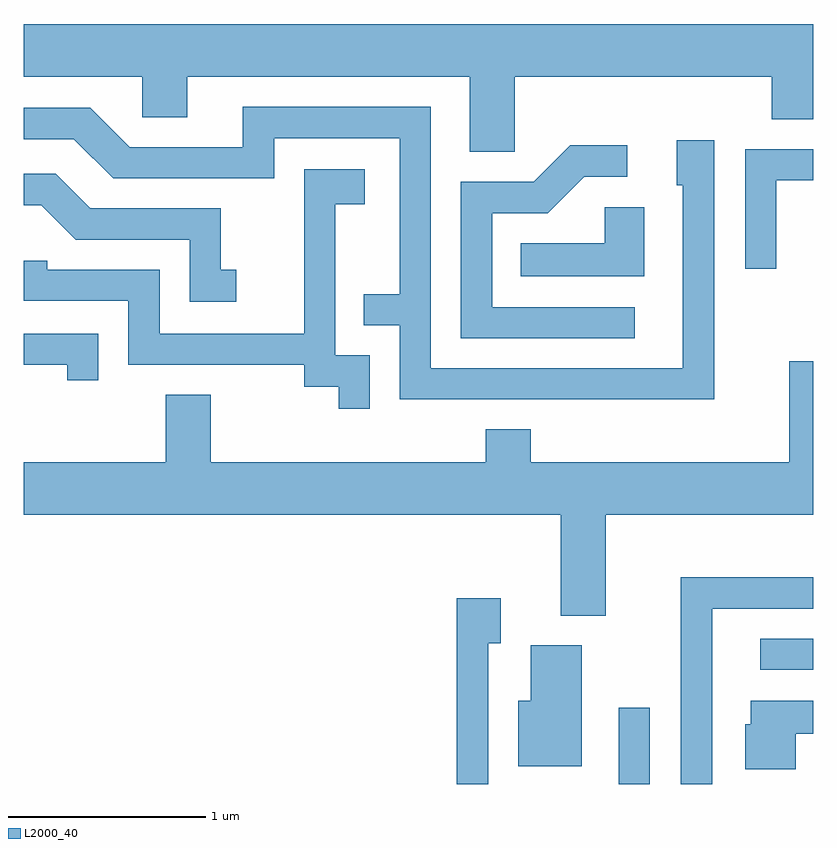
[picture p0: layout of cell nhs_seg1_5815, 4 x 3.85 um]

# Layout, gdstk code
import gdstk
lib = gdstk.Library(unit=1e-6, precision=1e-09)
def R(c, l, rs):  # rectangles x0, y0, x1, y1
    for r in rs: c.add(gdstk.rectangle(r[:2], r[2:], *l))
def P(c, l, *ps):  # polygons
    for p in ps: c.add(gdstk.Polygon(p, *l))
L2000_40 = (2000, 40)

nhs_seg1_5815 = lib.new_cell('nhs_seg1_5815')
R(nhs_seg1_5815, L2000_40, [(362.626,953.712,362.784,954.098), (363.343,954.291,363.611,954.449)])
P(nhs_seg1_5815, L2000_40, [(362.099,957.296),(363.401,957.296),(363.401,957.081),(363.611,957.081),(363.611,957.564),(359.611,957.564),(359.611,957.296),(360.211,957.296),(360.211,957.091),(360.439,957.091),(360.439,957.296),(361.871,957.296),(361.871,956.916),(362.099,956.916)],
  [(363.109,956.974),(362.921,956.974),(362.921,956.746),(362.951,956.746),(362.951,955.819),(361.674,955.819),(361.674,957.144),(360.721,957.144),(360.721,956.939),(360.147,956.939),(359.947,957.139),(359.611,957.139),(359.611,956.981),(359.864,956.981),(360.064,956.781),(360.879,956.781),(360.879,956.986),(361.516,956.986),(361.516,956.194),(361.333,956.194),(361.333,956.036),(361.516,956.036),(361.516,955.661),(363.109,955.661)],
  [(362.708,956.129),(361.984,956.129),(361.984,956.606),(362.267,956.606),(362.452,956.791),(362.668,956.791),(362.668,956.949),(362.379,956.949),(362.194,956.764),(361.826,956.764),(361.826,955.971),(362.708,955.971)],
  [(363.424,956.771),(363.611,956.771),(363.611,956.929),(363.266,956.929),(363.266,956.323),(363.424,956.323)],
  [(361.364,955.884),(361.189,955.884),(361.189,956.651),(361.339,956.651),(361.339,956.829),(361.031,956.829),(361.031,955.994),(360.299,955.994),(360.299,956.319),(359.729,956.319),(359.729,956.364),(359.611,956.364),(359.611,956.161),(360.141,956.161),(360.141,955.836),(361.031,955.836),(361.031,955.726),(361.206,955.726),(361.206,955.613),(361.364,955.613)],
  [(360.688,956.319),(360.609,956.319),(360.609,956.629),(359.947,956.629),(359.772,956.804),(359.611,956.804),(359.611,956.646),(359.699,956.646),(359.874,956.471),(360.451,956.471),(360.451,956.156),(360.688,956.156)],
  [(362.754,956.634),(362.556,956.634),(362.556,956.454),(362.128,956.454),(362.128,956.286),(362.754,956.286)],
  [(359.989,955.994),(359.611,955.994),(359.611,955.836),(359.831,955.836),(359.831,955.758),(359.989,955.758)],
  [(362.559,955.076),(363.611,955.076),(363.611,955.854),(363.491,955.854),(363.491,955.344),(362.179,955.344),(362.179,955.509),(361.951,955.509),(361.951,955.344),(360.559,955.344),(360.559,955.684),(360.331,955.684),(360.331,955.344),(359.611,955.344),(359.611,955.076),(362.331,955.076),(362.331,954.566),(362.559,954.566)],
  [(363.099,954.601),(363.611,954.601),(363.611,954.759),(362.941,954.759),(362.941,953.712),(363.099,953.712)],
  [(361.964,954.426),(362.029,954.426),(362.029,954.654),(361.806,954.654),(361.806,953.712),(361.964,953.712)],
  [(362.439,954.414),(362.181,954.414),(362.181,954.134),(362.116,954.134),(362.116,953.801),(362.439,953.801)],
  [(363.524,953.966),(363.611,953.966),(363.611,954.134),(363.296,954.134),(363.296,954.014),(363.266,954.014),(363.266,953.786),(363.524,953.786)])

lib.write_gds('nhs_seg1_5815.gds')
